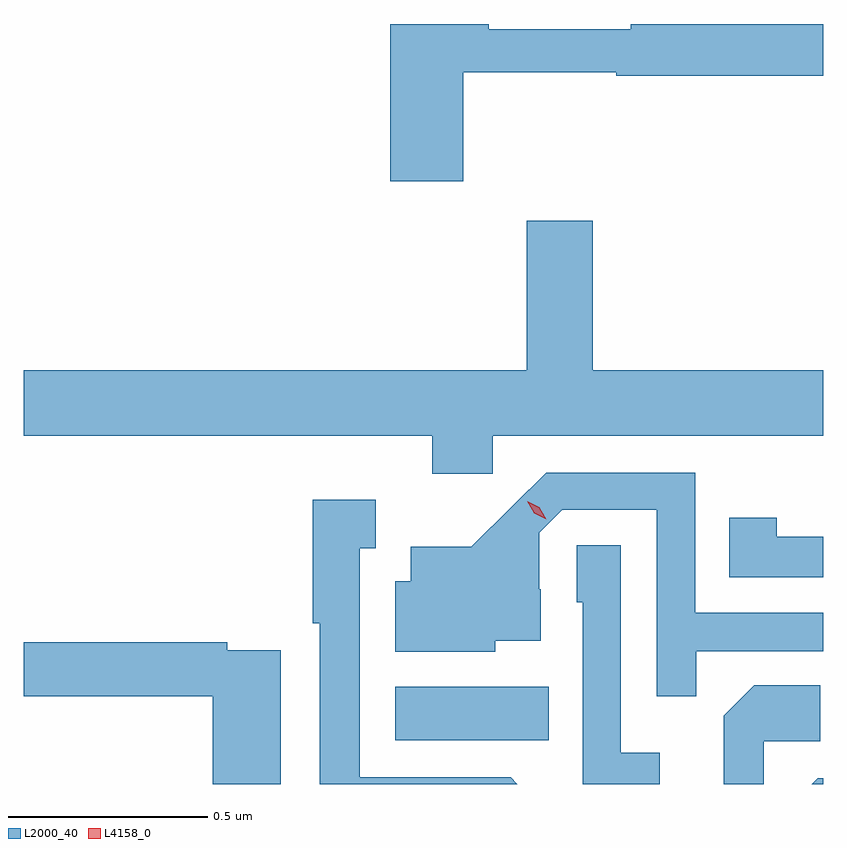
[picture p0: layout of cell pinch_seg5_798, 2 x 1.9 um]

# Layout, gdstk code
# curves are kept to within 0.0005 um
import gdstk
lib = gdstk.Library(unit=1e-6, precision=1e-09)
def R(c, l, rs):  # rectangles x0, y0, x1, y1
    for r in rs: c.add(gdstk.rectangle(r[:2], r[2:], *l))
def P(c, l, *ps):  # polygons
    for p in ps: c.add(gdstk.Polygon(p, *l))
L2000_40 = (2000, 40)
L4158_0 = (4158, 0)

pinch_seg5_798 = lib.new_cell('pinch_seg5_798')
R(pinch_seg5_798, L2000_40, [(764.078,907.946,764.462,908.08)])
P(pinch_seg5_798, L2000_40, [(764.249,909.618),(764.632,909.618),(764.632,909.61),(765.149,909.61),(765.149,909.739),(764.668,909.739),(764.668,909.726),(764.312,909.726),(764.312,909.739),(764.066,909.739),(764.066,909.345),(764.249,909.345)],
  [(763.149,908.708),(764.171,908.708),(764.171,908.613),(764.322,908.613),(764.322,908.708),(765.149,908.708),(765.149,908.872),(764.572,908.872),(764.572,909.247),(764.408,909.247),(764.408,908.872),(763.149,908.872)],
  [(764.831,908.169),(765.149,908.169),(765.149,908.265),(764.829,908.265),(764.829,908.616),(764.456,908.616),(764.269,908.431),(764.117,908.431),(764.117,908.344),(764.078,908.344),(764.078,908.168),(764.328,908.168),(764.328,908.195),(764.443,908.195),(764.443,908.324),(764.439,908.324),(764.439,908.466),(764.496,908.523),(764.733,908.523),(764.733,908.056),(764.831,908.056)],
  [(764.367,907.854),(763.99,907.854),(763.99,908.427),(764.029,908.427),(764.029,908.548),(763.872,908.548),(763.872,908.239),(763.889,908.239),(763.889,907.837),(764.384,907.837)],
  [(765.149,908.456),(765.033,908.456),(765.033,908.503),(764.914,908.503),(764.914,908.355),(765.149,908.355)],
  [(764.74,907.915),(764.643,907.915),(764.643,908.435),(764.532,908.435),(764.532,908.292),(764.547,908.292),(764.547,907.837),(764.74,907.837)],
  [(763.792,908.172),(763.658,908.172),(763.658,908.192),(763.149,908.192),(763.149,908.056),(763.622,908.056),(763.622,907.837),(763.792,907.837)],
  [(765,907.944),(765.142,907.944),(765.142,908.084),(764.977,908.084),(764.901,908.008),(764.901,907.837),(765,907.837)],
  [(765.149,907.852),(765.136,907.852),(765.121,907.837),(765.149,907.837)])
P(pinch_seg5_798, L4158_0, [(764.456,908.5),(764.426,908.515),(764.409,908.545),(764.409,908.545),(764.409,908.545),(764.439,908.53),(764.456,908.5),(764.456,908.5)])

lib.write_gds('pinch_seg5_798.gds')
